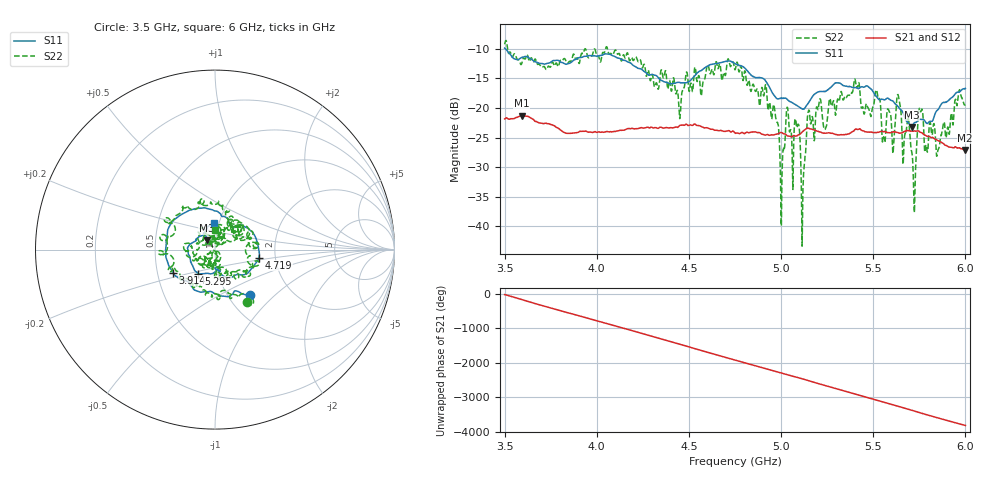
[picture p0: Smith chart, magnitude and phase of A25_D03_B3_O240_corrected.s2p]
! Created with skrf 1.9.0 (http://scikit-rf.org).
# Hz S RI R 50.0
!freq ReS11 ImS11 ReS21 ImS21 ReS12 ImS12 ReS22 ImS22
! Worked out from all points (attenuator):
!   1601 points, 3.5 GHz to 6 GHz, reference 50 ohm
!   highest |S21| = -21.33 dB at 3.592 GHz (marker M1); lowest = -27.1 dB at 5.998 GHz (marker M2)
!   lowest |S11| = -23.2 dB at 5.708 GHz (marker M3), VSWR 1.15, Z = 45.4 + j4.72 ohm
!   |S11| at or under -10 dB: 3.504 GHz to end of sweep
!   |S22| runs from -43.3 to -8.6 dB; largest |S21 - S12| = 0.00096
!   S11 on the Smith chart (normalised r, x): 3.5 GHz: 1.26, -0.71; 3.914 GHz: 0.60, -0.17; 4.719 GHz: 1.64, -0.16; 5.295 GHz: 0.80, -0.22; 6 GHz: 0.94, +0.28
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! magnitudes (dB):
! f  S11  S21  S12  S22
! 3.5 GHz  -9.9  -21.9  -21.9  -9.3
! 3.592 GHz  -11.5  -21.3  -21.3  -12.6
! 3.914 GHz  -11.5  -24.0  -23.9  -11.1
! 3.917 GHz  -11.5  -24.0  -24.0  -10.8
! 4.334 GHz  -14.9  -23.4  -23.4  -16.8
! 4.719 GHz  -12.1  -23.8  -23.9  -12.2
! 4.75 GHz  -12.5  -24.3  -24.2  -13.6
! 4.967 GHz  -18.1  -24.5  -24.4  -20.8
! 5.005 GHz  -18.3  -24.2  -24.2  -31.7
! 5.033 GHz  -18.5  -24.7  -24.6  -19.9
! 5.086 GHz  -19.6  -24.7  -24.7  -23.3
! 5.12 GHz  -20.2  -23.9  -23.8  -32.4
! 5.167 GHz  -18.2  -23.6  -23.6  -21.6
! 5.295 GHz  -15.8  -24.5  -24.4  -21.2
! 5.584 GHz  -18.5  -24.2  -24.1  -20.4
! 5.639 GHz  -19.9  -24.2  -24.2  -18.4
! 5.708 GHz  -23.2  -23.9  -23.9  -27.2
! 5.725 GHz  -22.5  -23.9  -23.9  -35.7
! 5.756 GHz  -21.9  -24.1  -24.0  -20.6
! 5.852 GHz  -20.3  -25.5  -25.5  -27.1
! 5.998 GHz  -16.8  -27.1  -27.0  -19.5
! 6 GHz  -16.7  -27.1  -27.0  -19.4
